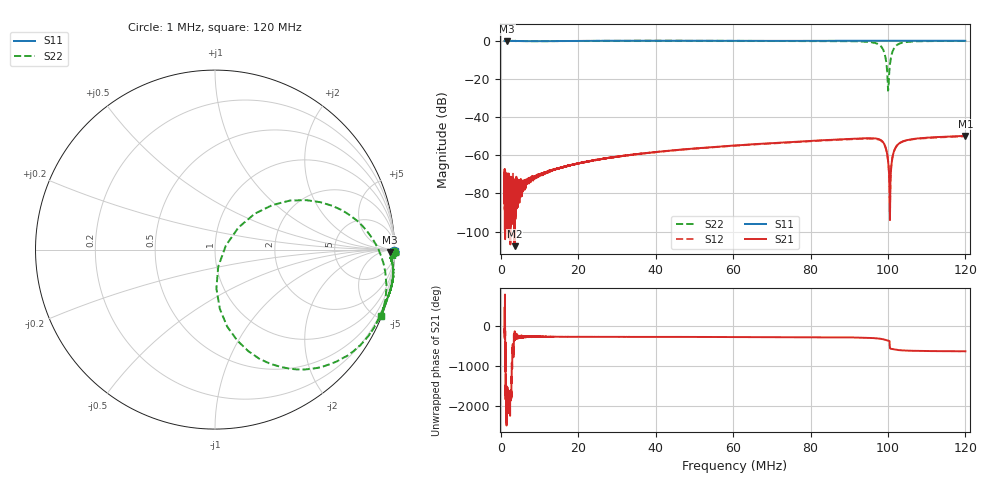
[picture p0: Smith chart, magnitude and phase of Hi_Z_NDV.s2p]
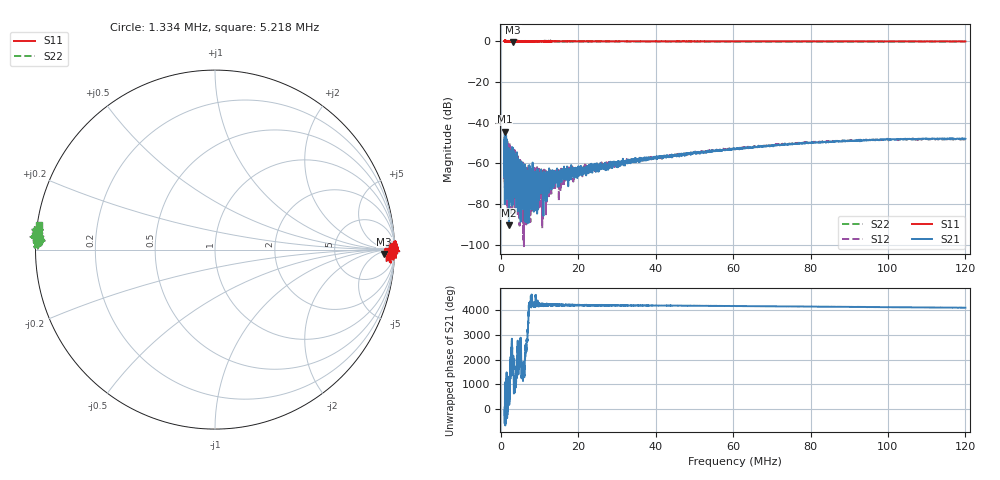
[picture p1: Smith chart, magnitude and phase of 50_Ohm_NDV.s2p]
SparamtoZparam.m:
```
close all
clc
clear all

Id_Ref_Freq=3848;

S_Hi = sparameters('Hi_Z_NDV.s2p')
S_50 = sparameters('50_Ohm_NDV.s2p')
%disp(S)
%rfplot(S)
% HIGH IMPEDANCE %
s11_Hi = rfparam(S_Hi,1,1);
s12_Hi = rfparam(S_Hi,1,2);
s21_Hi = rfparam(S_Hi,2,1);
s22_Hi = rfparam(S_Hi,2,2);
smithplot(S_Hi)
% 50 Ohm %
s11_50 = rfparam(S_50,1,1);
s12_50 = rfparam(S_50,1,2);
s21_50 = rfparam(S_50,2,1);
s22_50 = rfparam(S_50,2,2);
smithplot(S_50)

s12x_Hi = (s12_Hi(Id_Ref_Freq));%@100MHz = line Id_Ref_Freq exact 1.000210880452221e+08 MHz
s22x_Hi = (s22_Hi(Id_Ref_Freq));
s21x_Hi = (s21_Hi(Id_Ref_Freq));
s11x_Hi = (s11_Hi(Id_Ref_Freq));
zo = 50;

s12x_50 = (s12_50(Id_Ref_Freq));%@100MHz = line Id_Ref_Freq exact 1.000210880452221e+08 MHz
s22x_50 = (s22_50(Id_Ref_Freq));
s21x_50 = (s21_50(Id_Ref_Freq));
s11x_50 = (s11_50(Id_Ref_Freq));

Z_Hi = zparameters('Hi_Z_NDV.s2p');

z11_Hi = rfparam(Z_Hi,1,1);
z12_Hi = rfparam(Z_Hi,1,2);
z21_Hi = rfparam(Z_Hi,2,1);
z22_Hi = rfparam(Z_Hi,2,2);

% figure('Name','Z11','NumberTitle','off');
% plot(Z.Frequencies, imag(z11)) ;% this is for imaginary part of Z-, change as per your requrements
% figure('Name','Z12','NumberTitle','off');
% plot(Z.Frequencies, imag(z12)) ;
% figure('Name','Z21','NumberTitle','off');
% plot(Z.Frequencies, imag(z21)) ;
% figure('Name','Z22','NumberTitle','off');
% plot(Z.Frequencies, imag(z22)) ;

 for c= 1:4000
 k(c,:)=sqrt((imag(z12_Hi(c,:)).*imag(z21_Hi(c,:)))/(imag(z11_Hi(c,:)).*imag(z22_Hi(c,:))));
 end
% figure('Name','k factor','NumberTitle','off');
% plot(k)

% Comparaisons des parametres Z obtenus par Matlab et par calcul
Z12_Extracted = (z12_Hi(Id_Ref_Freq)); %@100MHz = line 3750
Z12_Calculated = zo*((2*s12x_Hi)/((1-s11x_Hi)*(1-s22x_Hi)-(s12x_Hi*s21x_Hi)));
Z22_Extracted = (z22_Hi(Id_Ref_Freq)); 
Z22_Calculated = zo*(((1-s11x_Hi)*(1+s22x_Hi)+(s12x_Hi*s21x_Hi))/((1-s11x_Hi)*(1-s22x_Hi)-(s12x_Hi*s21x_Hi)));
Z21_Extracted = (z21_Hi(Id_Ref_Freq)); 
Z21_Calculated = zo*((2*s21x_Hi)/((1-s11x_Hi)*(1-s22x_Hi)-(s12x_Hi*s21x_Hi)));
Z11_Extracted = (z11_Hi(Id_Ref_Freq)); 
Z11_Calculated = zo*(((1+s11x_Hi)*(1-s22x_Hi)+(s12x_Hi*s21x_Hi))/((1-s11x_Hi)*(1-s22x_Hi)-(s12x_Hi*s21x_Hi)));


% Calcul de Gamma %
coefficient_Hi = gammams(S_Hi);
Gamma_Coeff_Hi=real(coefficient_Hi(Id_Ref_Freq));

coefficient_50 = gammams(S_50);
Gamma_Coeff_50 = real(coefficient_50(Id_Ref_Freq));
%Gamma_Hiz= Z1

%Calcul du Z1%
Z1_Hi=zo*((1+Gamma_Coeff_Hi)/(1-Gamma_Coeff_Hi))
Z1_50=zo*((1+Gamma_Coeff_50)/(1-Gamma_Coeff_50))

%Calcul de I%
P=100e-6;
V_RF=sqrt(8*zo*P);
I1_Hi=V_RF/(zo+Z1_Hi);
I1_50=V_RF/(zo+Z1_50);

I_Hi_sur_50=I1_Hi/I1_50

Vfid_Hi_50 = (zo+Z1_50) / (zo+Z1_Hi)



% Calcul du facteur M %

f0 = 100e6; 
wo = 2*pi*f0;
k_100M = k(Id_Ref_Freq); %facteur k à 100MHz
L1 = 78e-9; 
L2 = 78e-9;
R15= 5100; %resistance serie du primaire
R2 = 0.7 ; % Resistance au secondaire

M = imag(z21_Hi(Id_Ref_Freq))/(2*pi*f0)
%M = k_100M*(sqrt(L1*L2))

z2 = R2 + ((M^2*wo^2)/(zo+R15));
z1hi = R15+((M^2*wo^2)/R2)
z150 = R15+((M^2*wo^2)/(2*R2 + ((M^2*wo^2)/(zo+R15))))

Rp_Vfid_Hi_50 = (zo+z150) / (zo+z1hi)


% Calcul des facteurs de qualités %
Q2_P = (L2*wo) / (R2 + ((M^2*wo^2)/(zo+R15)))
Q2 = (L2*wo)/ R2

Vout_hi_50 = Q2 / ((1/2)*sqrt(zo/R2))

% 20mVpp ohm 50
% 2Vpp  Hiz

Vfid_Hi_50_Calculated = (Q2_P*(zo+R15))/((1/2)*sqrt(zo/(R2 + ((M^2*wo^2)/(zo+R15))))*(zo+z150))
```
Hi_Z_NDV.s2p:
#  HZ  S  DB  R  50.0
! Rohde & Schwarz ZVL
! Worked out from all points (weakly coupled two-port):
!   4000 points, 1 MHz to 120 MHz, reference 50 ohm
!   highest |S21| = -49.85 dB at 120 MHz (marker M1); lowest = -107.7 dB at 3.6 MHz (marker M2)
!   lowest |S11| = -0.2 dB at 1.681 MHz (marker M3), VSWR 82.13, Z = 3.03e+03 - j1.81e+03 ohm
!   |S11| at or under -10 dB: nowhere
!   |S22| runs from -26.1 to 0.2 dB; largest |S21 - S12| = 0.00057
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1000000  -0.02 -0.3  -78.57 -79.7  -73.80 -27.0  0.00 -0.7
1681309  -0.21 -0.8  -76.73 111.2  -74.41 98.8  -0.14 -0.6
3600146  -0.06 -0.6  -107.67 156.3  -84.90 71.3  -0.05 -1.5
2.215984e7  -0.02 0.2  -63.42 86.1  -63.30 86.3  -0.04 -5.3
6.050398e7  -0.01 0.1  -54.86 81.4  -54.99 81.7  -0.01 -15.6
9.133522e7  0.04 -0.2  -51.31 69.7  -51.52 69.8  -0.22 -31.5
9.673746e7  0.05 -0.2  -51.18 51.6  -51.42 52.4  -1.14 -48.6
9.908164e7  0.06 -0.1  -54.28 18.0  -54.47 19.6  -6.38 -78.6
1.020919e8  0.06 -0.2  -55.58 122.4  -55.58 122.3  -2.59 17.1
1.051936e8  0.06 -0.2  -51.92 99.9  -52.02 100.0  -0.52 -4.7
1.2e8  0.02 -0.1  -49.85 84.8  -50.08 85.1  -0.04 -21.8
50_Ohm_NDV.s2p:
#  HZ  S  DB  R  50.0
! Rohde & Schwarz ZVL
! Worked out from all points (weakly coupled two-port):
!   4000 points, 1 MHz to 120 MHz, reference 50 ohm
!   highest |S21| = -44.50 dB at 1.05 MHz (marker M1); lowest = -90.5 dB at 2.118 MHz (marker M2)
!   lowest |S11| = -0.5 dB at 3.248 MHz (marker M3), VSWR 34.15, Z = 1.42e+03 - j640 ohm
!   |S11| at or under -10 dB: nowhere
!   |S22| runs from -0.5 to 0.3 dB; largest |S21 - S12| = 0.007
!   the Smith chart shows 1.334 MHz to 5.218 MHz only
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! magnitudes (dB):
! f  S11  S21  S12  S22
! 1 MHz  -0.1  -49.2  -52.7  0.0
! 1.05 MHz  -0.2  -44.5  -60.6  0.0
! 2.118 MHz  -0.1  -90.5  -59.0  -0.1
! 2.22 MHz  -0.1  -66.0  -58.8  -0.1
! 3.248 MHz  -0.5  -61.2  -59.9  -0.1
! 4.216 MHz  -0.2  -64.3  -63.7  -0.1
! 4.52 MHz  -0.1  -62.4  -66.9  -0.1
! 7.83 MHz  -0.1  -80.5  -70.1  -0.1
! 25.49 MHz  -0.1  -61.0  -60.9  -0.1
! 60.5 MHz  -0.2  -53.1  -53.2  -0.3
! 120 MHz  -0.2  -48.0  -48.2  -0.3
